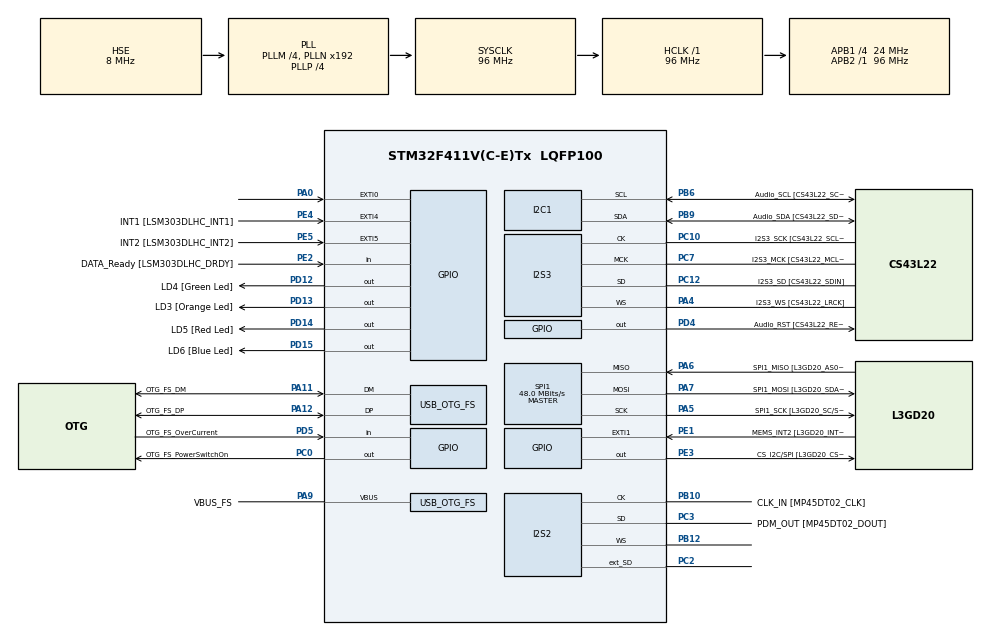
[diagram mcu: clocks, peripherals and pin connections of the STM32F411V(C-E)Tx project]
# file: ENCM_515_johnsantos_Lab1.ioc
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I2S2.AudioFreq=I2S_AUDIOFREQ_96K
I2S2.ErrorAudioFreq=0.15 %
I2S2.FullDuplexMode=I2S_FULLDUPLEXMODE_ENABLE
I2S2.Instance=SPI$Index
I2S2.RealAudioFreq=96.153 KHz
I2S2.VirtualMode=I2S_MODE_MASTER
I2S3.AudioFreq=I2S_AUDIOFREQ_96K
I2S3.ErrorAudioFreq=-6.99 %
I2S3.FullDuplexMode=I2S_FULLDUPLEXMODE_DISABLE
I2S3.Instance=SPI$Index
I2S3.RealAudioFreq=89.285 KHz
I2S3.VirtualMode=I2S_MODE_MASTER
Mcu.Family=STM32F4
Mcu.Name=STM32F411V(C-E)Tx
Mcu.Package=LQFP100
NVIC.OTG_FS_IRQn=true\:0\:0\:false\:false\:true\:true\:true\:true
NVIC.PriorityGroup=NVIC_PRIORITYGROUP_0
PA0-WKUP.GPIO_ModeDefaultEXTI=GPIO_MODE_EVT_RISING
PA0-WKUP.Signal=GPXTI0
PA10.GPIO_Label=OTG_FS_ID
PA10.Signal=USB_OTG_FS_ID
PA11.GPIO_Label=OTG_FS_DM
PA11.Mode=Host_Only
PA11.Signal=USB_OTG_FS_DM
PA12.GPIO_Label=OTG_FS_DP
PA12.Mode=Host_Only
PA12.Signal=USB_OTG_FS_DP
PA13.GPIO_Label=SWDIO
PA13.Mode=Serial_Wire
PA13.Signal=SYS_JTMS-SWDIO
PA14.GPIO_Label=SWCLK
PA14.Mode=Serial_Wire
PA14.Signal=SYS_JTCK-SWCLK
PA4.GPIO_Label=I2S3_WS [CS43L22_LRCK]
PA4.GPIO_Mode=GPIO_MODE_AF_PP
PA4.GPIO_PuPd=GPIO_NOPULL
PA4.GPIO_Speed=GPIO_SPEED_FREQ_LOW
PA4.Mode=Half_Duplex_Master
PA4.Signal=I2S3_WS
PA5.GPIO_Label=SPI1_SCK [L3GD20_SC/SPC]
PA5.Mode=Full_Duplex_Master
PA5.Signal=SPI1_SCK
PA6.GPIO_Label=SPI1_MISO [L3GD20_AS0/SDO]
PA6.Mode=Full_Duplex_Master
PA6.Signal=SPI1_MISO
PA7.GPIO_Label=SPI1_MOSI [L3GD20_SDA/SDI/SDO]
PA7.Mode=Full_Duplex_Master
PA7.Signal=SPI1_MOSI
PA9.GPIO_Label=VBUS_FS
PA9.Mode=Activate_VBUS
PA9.Signal=USB_OTG_FS_VBUS
PB10.GPIO_Label=CLK_IN [MP45DT02_CLK]
PB10.Mode=Full_Duplex_Master
PB10.Signal=I2S2_CK
PB12.Mode=Full_Duplex_Master
PB12.Signal=I2S2_WS
PB3.GPIO_Label=SWO
PB3.Signal=SYS_JTDO-SWO
PB6.GPIO_Label=Audio_SCL [CS43L22_SCL]
PB6.GPIO_Mode=GPIO_MODE_AF_OD
PB6.GPIO_Pu=GPIO_PULLUP
PB6.GPIO_PuPd=GPIO_NOPULL
PB6.GPIO_Speed=GPIO_SPEED_FREQ_LOW
PB6.Mode=I2C
PB6.Signal=I2C1_SCL
PB9.GPIO_Label=Audio_SDA [CS43L22_SDA]
PB9.GPIO_Mode=GPIO_MODE_AF_OD
PB9.GPIO_Pu=GPIO_PULLUP
PB9.GPIO_PuPd=GPIO_NOPULL
PB9.GPIO_Speed=GPIO_SPEED_FREQ_LOW
PB9.Mode=I2C
PB9.Signal=I2C1_SDA
PC0.GPIO_Label=OTG_FS_PowerSwitchOn
PC0.PinState=GPIO_PIN_SET
PC0.Signal=GPIO_Output
PC10.GPIO_Label=I2S3_SCK [CS43L22_SCLK]
PC10.GPIO_Mode=GPIO_MODE_AF_PP
PC10.GPIO_PuPd=GPIO_NOPULL
PC10.GPIO_Speed=GPIO_SPEED_FREQ_LOW
PC10.Mode=Half_Duplex_Master
PC10.Signal=I2S3_CK
PC12.GPIO_Label=I2S3_SD [CS43L22_SDIN]
PC12.GPIO_Mode=GPIO_MODE_AF_PP
PC12.GPIO_PuPd=GPIO_NOPULL
PC12.GPIO_Speed=GPIO_SPEED_FREQ_LOW
PC12.Mode=Half_Duplex_Master
PC12.Signal=I2S3_SD
PC14-OSC32_IN.GPIO_Label=PC14-OSC32_IN
PC14-OSC32_IN.Mode=LSE-External-Oscillator
PC14-OSC32_IN.Signal=RCC_OSC32_IN
PC15-OSC32_OUT.GPIO_Label=PC15-OSC32_OUT
PC15-OSC32_OUT.Mode=LSE-External-Oscillator
PC15-OSC32_OUT.Signal=RCC_OSC32_OUT
PC2.Mode=Full_Duplex_Master
PC2.Signal=I2S2_ext_SD
PC3.GPIO_Label=PDM_OUT [MP45DT02_DOUT]
PC3.Mode=Full_Duplex_Master
PC3.Signal=I2S2_SD
PC7.GPIO_Label=I2S3_MCK [CS43L22_MCLK]
PC7.GPIO_Mode=GPIO_MODE_AF_PP
PC7.GPIO_PuPd=GPIO_NOPULL
PC7.GPIO_Speed=GPIO_SPEED_FREQ_LOW
PC7.Mode=Master_Clock_Activated
PC7.Signal=I2S3_MCK
PD12.GPIO_Label=LD4 [Green Led]
PD12.GPIO_PuPd=GPIO_NOPULL
PD12.GPIO_Speed=GPIO_SPEED_FREQ_LOW
PD12.Signal=GPIO_Output
PD13.GPIO_Label=LD3 [Orange Led]
PD13.GPIO_PuPd=GPIO_NOPULL
PD13.GPIO_Speed=GPIO_SPEED_FREQ_LOW
PD13.Signal=GPIO_Output
PD14.GPIO_Label=LD5 [Red Led]
PD14.GPIO_PuPd=GPIO_NOPULL
PD14.GPIO_Speed=GPIO_SPEED_FREQ_LOW
PD14.Signal=GPIO_Output
PD15.GPIO_Label=LD6 [Blue Led]
PD15.GPIO_PuPd=GPIO_NOPULL
PD15.GPIO_Speed=GPIO_SPEED_FREQ_LOW
PD15.Signal=GPIO_Output
PD4.GPIO_Label=Audio_RST [CS43L22_RESET]
PD4.Signal=GPIO_Output
PD5.GPIO_Label=OTG_FS_OverCurrent
PD5.Signal=GPIO_Input
PE1.GPIO_Label=MEMS_INT2 [L3GD20_INT2]
PE1.GPIO_ModeDefaultEXTI=GPIO_MODE_EVT_RISING
PE1.Signal=GPXTI1
PE2.GPIO_Label=DATA_Ready [LSM303DLHC_DRDY]
PE2.Signal=GPIO_Input
PE3.GPIO_Label=CS_I2C/SPI [L3GD20_CS_I2C/SPI]
PE3.Signal=GPIO_Output
PE4.GPIO_Label=INT1 [LSM303DLHC_INT1]
PE4.GPIO_ModeDefaultEXTI=GPIO_MODE_EVT_RISING
PE4.Signal=GPXTI4
PE5.GPIO_Label=INT2 [LSM303DLHC_INT2]
PE5.GPIO_ModeDefaultEXTI=GPIO_MODE_EVT_RISING
PE5.Signal=GPXTI5
PH0\ -\ OSC_IN.GPIO_Label=PH0-OSC_IN
PH0\ -\ OSC_IN.Mode=HSE-External-Oscillator
PH0\ -\ OSC_IN.Signal=RCC_OSC_IN
PH1\ -\ OSC_OUT.GPIO_Label=PH1-OSC_OUT
PH1\ -\ OSC_OUT.Mode=HSE-External-Oscillator
PH1\ -\ OSC_OUT.Signal=RCC_OSC_OUT
ProjectManager.HeapSize=0x200
ProjectManager.StackSize=0x400
ProjectManager.TargetToolchain=STM32CubeIDE
RCC.48MHZClocksFreq_Value=48000000
RCC.AHBFreq_Value=96000000
RCC.APB1CLKDivider=RCC_HCLK_DIV4
RCC.APB1Freq_Value=24000000
RCC.APB1TimFreq_Value=48000000
RCC.APB2Freq_Value=96000000
RCC.APB2TimFreq_Value=96000000
RCC.CortexFreq_Value=96000000
RCC.HCLKFreq_Value=96000000
RCC.HSE_VALUE=8000000
RCC.HSI_VALUE=16000000
RCC.PLLI2SM=5
RCC.PLLI2SN=200
RCC.PLLM=4
RCC.PLLP=RCC_PLLP_DIV4
RCC.PLLQ=8
RCC.SYSCLKFreq_VALUE=96000000
RCC.SYSCLKSource=RCC_SYSCLKSOURCE_PLLCLK
RCC.VCOOutputFreq_Value=384000000
SPI1.BaudRatePrescaler=SPI_BAUDRATEPRESCALER_2
SPI1.CalculateBaudRate=48.0 MBits/s
SPI1.Direction=SPI_DIRECTION_2LINES
SPI1.Mode=SPI_MODE_MASTER
SPI1.VirtualType=VM_MASTER
USB_HOST.BSP.number=1
USB_HOST.USBH_HandleTypeDef=hUsbHostFS
USB_HOST.VirtualModeFS=Cdc
USB_HOST0.BSP.STBoard=false
USB_HOST0.BSP.api=Unknown
USB_HOST0.BSP.instance=PC0
USB_HOST0.BSP.ip=GPIO
USB_HOST0.BSP.mode=Output
USB_HOST0.BSP.name=Drive_VBUS_FS
USB_HOST0.BSP.solution=PC0
USB_OTG_FS.VirtualMode=Host_Only
USB_OTG_FS.phy_itface=HCD_PHY_EMBEDDED
VP_USB_HOST_VS_USB_HOST_CDC_FS.Mode=CDC_FS
board=STM32F411E-DISCO

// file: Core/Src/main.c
/* USER CODE BEGIN Header */
/**
  ******************************************************************************
  * @file           : main.c
  * @brief          : Main program body
  ******************************************************************************
  * @attention
  *
  * Copyright (c) 2024 STMicroelectronics.
  * All rights reserved.
  *
  * This software is licensed under terms that can be found in the LICENSE file
  * in the root directory of this software component.
  * If no LICENSE file comes with this software, it is provided AS-IS.
  *
  ******************************************************************************
  */
/* USER CODE END Header */
#include "main.h"
#include "usb_host.h"

/* USER CODE BEGIN Includes */
#include "arm_math.h"
/* USER CODE END Includes */

/* USER CODE BEGIN PD */
#define ITM_Port32(n) (*((volatile unsigned long *)(0xE0000000+4*n)))
/* USER CODE END PD */

I2C_HandleTypeDef hi2c1;

I2S_HandleTypeDef hi2s2;
I2S_HandleTypeDef hi2s3;

SPI_HandleTypeDef hspi1;

void SystemClock_Config(void);
void PeriphCommonClock_Config(void);
static void MX_GPIO_Init(void);
static void MX_I2C1_Init(void);
static void MX_I2S2_Init(void);
static void MX_I2S3_Init(void);
static void MX_SPI1_Init(void);
void MX_USB_HOST_Process(void);

/* USER CODE BEGIN PFP */
int _write(int file, char* ptr, int len);
void BasicLoopTest(void);
void FloatingExperiment(void);
void FixedExperiment(void);
void CMSISExperiment(void);
/* USER CODE END PFP */

int main(void)
{

  /* MCU Configuration--------------------------------------------------------*/

  /* Reset of all peripherals, Initializes the Flash interface and the Systick. */
  HAL_Init();

  /* Configure the system clock */
  SystemClock_Config();

/* Configure the peripherals common clocks */
  PeriphCommonClock_Config();

  /* Initialize all configured peripherals */
  MX_GPIO_Init();
  MX_I2C1_Init();
  MX_I2S2_Init();
  MX_I2S3_Init();
  MX_SPI1_Init();
  MX_USB_HOST_Init();
  /* USER CODE BEGIN 2 */
  HAL_SuspendTick();
  printf("Names:Kushal and John, Date: 27/01/2024, and Dark mode is better than light mode as it attracts bugs :)\n");

  printf("\n Testing float print: %f \n\r", 0.50);
  ITM_Port32(31) = 1;
  BasicLoopTest();
  ITM_Port32(31) = 2;

  ITM_Port32(31) = 3;
  FloatingExperiment();
  ITM_Port32(31) = 4;

  ITM_Port32(31) = 5;
  FixedExperiment();
  ITM_Port32(31) = 6;

  ITM_Port32(31) = 7;
  CMSISExperiment();
  ITM_Port32(31) = 8;
  /* USER CODE END 2 */

  /* Infinite loop */
  while (1)
  {
    MX_USB_HOST_Process();

  }
}

void SystemClock_Config(void)
{
  RCC_OscInitTypeDef RCC_OscInitStruct = {0};
  RCC_ClkInitTypeDef RCC_ClkInitStruct = {0};

  /** Configure the main internal regulator output voltage
  */
  __HAL_RCC_PWR_CLK_ENABLE();
  __HAL_PWR_VOLTAGESCALING_CONFIG(PWR_REGULATOR_VOLTAGE_SCALE1);

  /** Initializes the RCC Oscillators according to the specified parameters
  * in the RCC_OscInitTypeDef structure.
  */
  RCC_OscInitStruct.OscillatorType = RCC_OSCILLATORTYPE_HSE;
  RCC_OscInitStruct.HSEState = RCC_HSE_ON;
  RCC_OscInitStruct.PLL.PLLState = RCC_PLL_ON;
  RCC_OscInitStruct.PLL.PLLSource = RCC_PLLSOURCE_HSE;
  RCC_OscInitStruct.PLL.PLLM = 4;
  RCC_OscInitStruct.PLL.PLLN = 192;
  RCC_OscInitStruct.PLL.PLLP = RCC_PLLP_DIV4;
  RCC_OscInitStruct.PLL.PLLQ = 8;
  if (HAL_RCC_OscConfig(&RCC_OscInitStruct) != HAL_OK)
  {
    Error_Handler();
  }

  /** Initializes the CPU, AHB and APB buses clocks
  */
  RCC_ClkInitStruct.ClockType = RCC_CLOCKTYPE_HCLK|RCC_CLOCKTYPE_SYSCLK
                              |RCC_CLOCKTYPE_PCLK1|RCC_CLOCKTYPE_PCLK2;
  RCC_ClkInitStruct.SYSCLKSource = RCC_SYSCLKSOURCE_PLLCLK;
  RCC_ClkInitStruct.AHBCLKDivider = RCC_SYSCLK_DIV1;
  RCC_ClkInitStruct.APB1CLKDivider = RCC_HCLK_DIV4;
  RCC_ClkInitStruct.APB2CLKDivider = RCC_HCLK_DIV1;

  if (HAL_RCC_ClockConfig(&RCC_ClkInitStruct, FLASH_LATENCY_3) != HAL_OK)
  {
    Error_Handler();
  }
}

void PeriphCommonClock_Config(void)
{
  RCC_PeriphCLKInitTypeDef PeriphClkInitStruct = {0};

  /** Initializes the peripherals clock
  */
  PeriphClkInitStruct.PeriphClockSelection = RCC_PERIPHCLK_I2S;
  PeriphClkInitStruct.PLLI2S.PLLI2SN = 200;
  PeriphClkInitStruct.PLLI2S.PLLI2SM = 5;
  PeriphClkInitStruct.PLLI2S.PLLI2SR = 2;
  if (HAL_RCCEx_PeriphCLKConfig(&PeriphClkInitStruct) != HAL_OK)
  {
    Error_Handler();
  }
}

static void MX_I2C1_Init(void)
{

  hi2c1.Instance = I2C1;
  hi2c1.Init.ClockSpeed = 100000;
  hi2c1.Init.DutyCycle = I2C_DUTYCYCLE_2;
  hi2c1.Init.OwnAddress1 = 0;
  hi2c1.Init.AddressingMode = I2C_ADDRESSINGMODE_7BIT;
  hi2c1.Init.DualAddressMode = I2C_DUALADDRESS_DISABLE;
  hi2c1.Init.OwnAddress2 = 0;
  hi2c1.Init.GeneralCallMode = I2C_GENERALCALL_DISABLE;
  hi2c1.Init.NoStretchMode = I2C_NOSTRETCH_DISABLE;
  if (HAL_I2C_Init(&hi2c1) != HAL_OK)
  {
    Error_Handler();
  }

}

static void MX_I2S2_Init(void)
{

  hi2s2.Instance = SPI2;
  hi2s2.Init.Mode = I2S_MODE_MASTER_TX;
  hi2s2.Init.Standard = I2S_STANDARD_PHILIPS;
  hi2s2.Init.DataFormat = I2S_DATAFORMAT_16B;
  hi2s2.Init.MCLKOutput = I2S_MCLKOUTPUT_DISABLE;
  hi2s2.Init.AudioFreq = I2S_AUDIOFREQ_96K;
  hi2s2.Init.CPOL = I2S_CPOL_LOW;
  hi2s2.Init.ClockSource = I2S_CLOCK_PLL;
  hi2s2.Init.FullDuplexMode = I2S_FULLDUPLEXMODE_ENABLE;
  if (HAL_I2S_Init(&hi2s2) != HAL_OK)
  {
    Error_Handler();
  }

}

static void MX_I2S3_Init(void)
{

  hi2s3.Instance = SPI3;
  hi2s3.Init.Mode = I2S_MODE_MASTER_TX;
  hi2s3.Init.Standard = I2S_STANDARD_PHILIPS;
  hi2s3.Init.DataFormat = I2S_DATAFORMAT_16B;
  hi2s3.Init.MCLKOutput = I2S_MCLKOUTPUT_ENABLE;
  hi2s3.Init.AudioFreq = I2S_AUDIOFREQ_96K;
  hi2s3.Init.CPOL = I2S_CPOL_LOW;
  hi2s3.Init.ClockSource = I2S_CLOCK_PLL;
  hi2s3.Init.FullDuplexMode = I2S_FULLDUPLEXMODE_DISABLE;
  if (HAL_I2S_Init(&hi2s3) != HAL_OK)
  {
    Error_Handler();
  }

}

static void MX_SPI1_Init(void)
{

  /* SPI1 parameter configuration*/
  hspi1.Instance = SPI1;
  hspi1.Init.Mode = SPI_MODE_MASTER;
  hspi1.Init.Direction = SPI_DIRECTION_2LINES;
  hspi1.Init.DataSize = SPI_DATASIZE_8BIT;
  hspi1.Init.CLKPolarity = SPI_POLARITY_LOW;
  hspi1.Init.CLKPhase = SPI_PHASE_1EDGE;
  hspi1.Init.NSS = SPI_NSS_SOFT;
  hspi1.Init.BaudRatePrescaler = SPI_BAUDRATEPRESCALER_2;
  hspi1.Init.FirstBit = SPI_FIRSTBIT_MSB;
  hspi1.Init.TIMode = SPI_TIMODE_DISABLE;
  hspi1.Init.CRCCalculation = SPI_CRCCALCULATION_DISABLE;
  hspi1.Init.CRCPolynomial = 10;
  if (HAL_SPI_Init(&hspi1) != HAL_OK)
  {
    Error_Handler();
  }

}

static void MX_GPIO_Init(void)
{
  GPIO_InitTypeDef GPIO_InitStruct = {0};

  /* GPIO Ports Clock Enable */
  __HAL_RCC_GPIOE_CLK_ENABLE();
  __HAL_RCC_GPIOC_CLK_ENABLE();
  __HAL_RCC_GPIOH_CLK_ENABLE();
  __HAL_RCC_GPIOA_CLK_ENABLE();
  __HAL_RCC_GPIOB_CLK_ENABLE();
  __HAL_RCC_GPIOD_CLK_ENABLE();

  /*Configure GPIO pin Output Level */
  HAL_GPIO_WritePin(CS_I2C_SPI_GPIO_Port, CS_I2C_SPI_Pin, GPIO_PIN_RESET);

  /*Configure GPIO pin Output Level */
  HAL_GPIO_WritePin(OTG_FS_PowerSwitchOn_GPIO_Port, OTG_FS_PowerSwitchOn_Pin, GPIO_PIN_SET);

  /*Configure GPIO pin Output Level */
  HAL_GPIO_WritePin(GPIOD, LD4_Pin|LD3_Pin|LD5_Pin|LD6_Pin
                          |Audio_RST_Pin, GPIO_PIN_RESET);

  /*Configure GPIO pin : DATA_Ready_Pin */
  GPIO_InitStruct.Pin = DATA_Ready_Pin;
  GPIO_InitStruct.Mode = GPIO_MODE_INPUT;
  GPIO_InitStruct.Pull = GPIO_NOPULL;
  HAL_GPIO_Init(DATA_Ready_GPIO_Port, &GPIO_InitStruct);

  /*Configure GPIO pin : CS_I2C_SPI_Pin */
  GPIO_InitStruct.Pin = CS_I2C_SPI_Pin;
  GPIO_InitStruct.Mode = GPIO_MODE_OUTPUT_PP;
  GPIO_InitStruct.Pull = GPIO_NOPULL;
  GPIO_InitStruct.Speed = GPIO_SPEED_FREQ_LOW;
  HAL_GPIO_Init(CS_I2C_SPI_GPIO_Port, &GPIO_InitStruct);

  /*Configure GPIO pins : INT1_Pin INT2_Pin MEMS_INT2_Pin */
  GPIO_InitStruct.Pin = INT1_Pin|INT2_Pin|MEMS_INT2_Pin;
  GPIO_InitStruct.Mode = GPIO_MODE_EVT_RISING;
  GPIO_InitStruct.Pull = GPIO_NOPULL;
  HAL_GPIO_Init(GPIOE, &GPIO_InitStruct);

  /*Configure GPIO pin : OTG_FS_PowerSwitchOn_Pin */
  GPIO_InitStruct.Pin = OTG_FS_PowerSwitchOn_Pin;
  GPIO_InitStruct.Mode = GPIO_MODE_OUTPUT_PP;
  GPIO_InitStruct.Pull = GPIO_NOPULL;
  GPIO_InitStruct.Speed = GPIO_SPEED_FREQ_LOW;
  HAL_GPIO_Init(OTG_FS_PowerSwitchOn_GPIO_Port, &GPIO_InitStruct);

  /*Configure GPIO pin : PA0 */
  GPIO_InitStruct.Pin = GPIO_PIN_0;
  GPIO_InitStruct.Mode = GPIO_MODE_EVT_RISING;
  GPIO_InitStruct.Pull = GPIO_NOPULL;
  HAL_GPIO_Init(GPIOA, &GPIO_InitStruct);

  /*Configure GPIO pins : LD4_Pin LD3_Pin LD5_Pin LD6_Pin
                           Audio_RST_Pin */
  GPIO_InitStruct.Pin = LD4_Pin|LD3_Pin|LD5_Pin|LD6_Pin
                          |Audio_RST_Pin;
  GPIO_InitStruct.Mode = GPIO_MODE_OUTPUT_PP;
  GPIO_InitStruct.Pull = GPIO_NOPULL;
  GPIO_InitStruct.Speed = GPIO_SPEED_FREQ_LOW;
  HAL_GPIO_Init(GPIOD, &GPIO_InitStruct);

  /*Configure GPIO pin : OTG_FS_OverCurrent_Pin */
  GPIO_InitStruct.Pin = OTG_FS_OverCurrent_Pin;
  GPIO_InitStruct.Mode = GPIO_MODE_INPUT;
  GPIO_InitStruct.Pull = GPIO_NOPULL;
  HAL_GPIO_Init(OTG_FS_OverCurrent_GPIO_Port, &GPIO_InitStruct);

}

/* USER CODE BEGIN 4 */
int _write(int file, char* ptr, int len) {
	int DataIdx;
	for (DataIdx = 0; DataIdx < len; DataIdx++) {
		ITM_SendChar(*ptr++);
	}
	return len;
}

void BasicLoopTest(void){
	for (int i=0; i<2000000; i++) {
	}
}

void FloatingExperiment(void) {
	float a = 0.5;
	float b = 0.125;
	float c = a * b;
}

void FixedExperiment(void) {
	// Assume the following values are in Q1.15 format.
	int16_t a = 0x4000; // Should be 0.50
	int16_t b = 0x1000; // Should be 0.125
	/* So the format is now 32-bit integer, Q2.30 fixed point due to the
	 * multiplication. So we need to bit shift to retain the first 16 bits from
	 * the MSB. The MSB is arbitrary sign extension which is dropped.
	 *
	 * The output of c in decimal is 2048. This is because binary in C is not
	 * immediately interpreted as fixed point. For example the output in binary is:
	 * 0000_1000_0000_0000 => 2048 in decimal. However as a fixed point number
	 * this is 0.000100000000000 = 0.0625 = 2048/2^15.
	 */
	int16_t c = (a * b)>>15;

	printf("\n The value of c is: %d \n\r", c);
}

void CMSISExperiment(void){
	float float_array[10] = {-0.9, -0.7, 0, 0.5, 1.5, 0.2, -0.1, -1.5, 0.6, 0.45};
	q15_t q15_array[10];
	float32_t f32_array[10];
	arm_float_to_q15(&float_array, &q15_array, 10);
	arm_q15_to_float(&q15_array, &f32_array, 10);
}

/* USER CODE END 4 */

void Error_Handler(void)
{
  __disable_irq();
  while (1)
  {
  }
}
